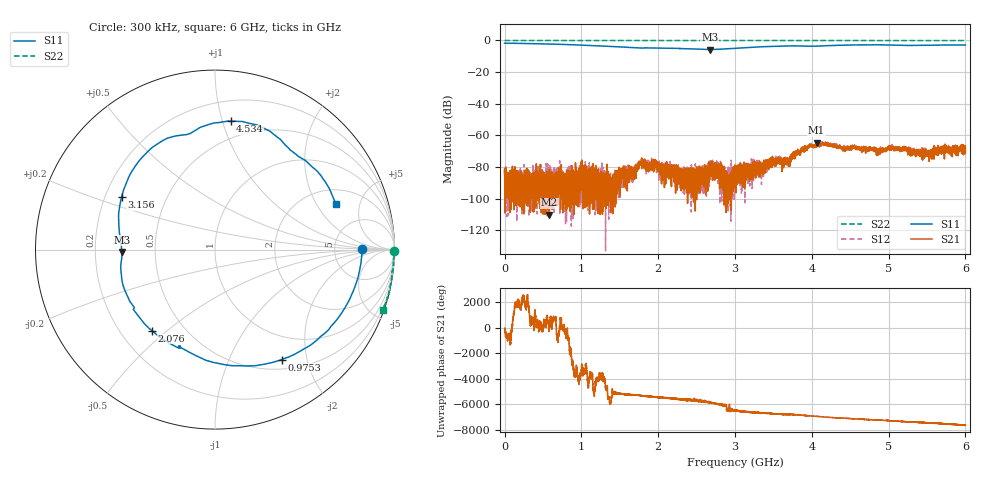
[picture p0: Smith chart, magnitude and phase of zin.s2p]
!  8/10/2020  01:48:35
! Ref Plane: 0.000 mm
# MHZ S MA R  50
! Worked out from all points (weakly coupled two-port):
!   10001 points, 300 kHz to 6 GHz, reference 50 ohm
!   highest |S21| = -64.57 dB at 4.061 GHz (marker M1); lowest = -110.0 dB at 581.7 MHz (marker M2)
!   lowest |S11| = -5.7 dB at 2.671 GHz (marker M3), VSWR 3.15, Z = 15.9 - j0.569 ohm
!   |S11| at or under -10 dB: nowhere
!   |S22| runs from -0.1 to 0.0 dB; largest |S21 - S12| = 0.00022
!   S11 on the Smith chart (normalised r, x): 300 kHz: 10, +0; 975.3 MHz: 0.63, -1.59; 2.076 GHz: 0.33, -0.44; 3.156 GHz: 0.27, +0.24; 4.534 GHz: 0.36, +1.06; 6 GHz: 2.86, +2.95
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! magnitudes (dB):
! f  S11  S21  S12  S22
! 300 kHz  -1.7  -83.7  -82.0  0.0
! 581.7 MHz  -2.2  -110.0  -85.3  0.0
! 975.3 MHz  -2.9  -97.1  -100.8  0.0
! 1 GHz  -2.9  -80.6  -94.0  0.0
! 1.682 GHz  -4.5  -81.3  -83.6  0.0
! 1.783 GHz  -4.8  -76.6  -76.0  0.0
! 2.001 GHz  -4.8  -80.9  -78.8  0.0
! 2.076 GHz  -4.9  -79.6  -82.5  0.0
! 2.671 GHz  -5.7  -79.7  -81.6  0.0
! 3 GHz  -4.9  -81.5  -83.9  0.0
! 3.156 GHz  -4.5  -83.6  -81.9  0.0
! 3.69 GHz  -3.5  -77.0  -76.0  0.0
! 3.79 GHz  -3.4  -71.7  -71.6  0.0
! 4 GHz  -3.6  -67.3  -65.7  0.0
! 4.061 GHz  -3.6  -64.6  -66.7  0.0
! 4.534 GHz  -2.8  -67.7  -67.2  0.0
! 4.868 GHz  -2.7  -70.1  -69.9  0.0
! 5 GHz  -2.9  -67.9  -67.5  0.0
! 5.488 GHz  -3.1  -68.7  -70.4  0.0
! 5.696 GHz  -2.9  -69.9  -69.9  0.0
! 5.958 GHz  -2.9  -69.2  -69.0  -0.1
! 6 GHz  -2.9  -71.5  -70.7  -0.1
